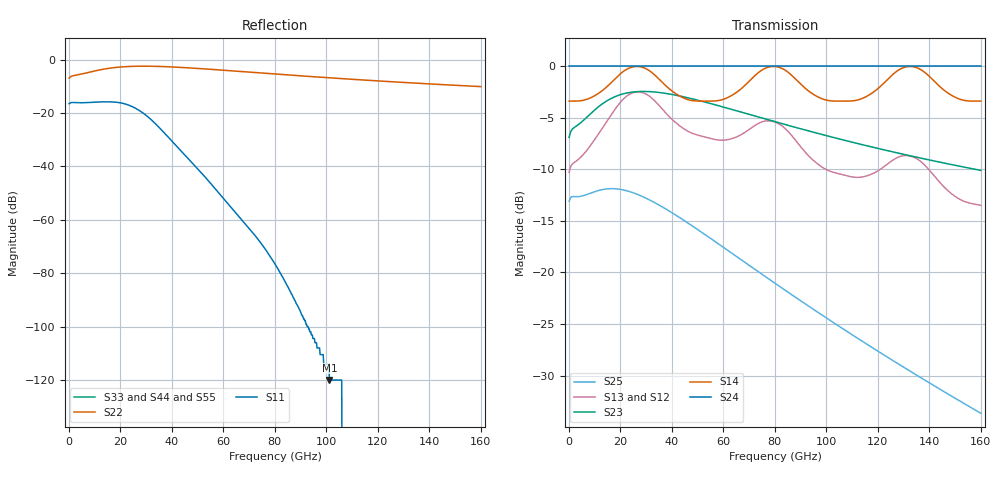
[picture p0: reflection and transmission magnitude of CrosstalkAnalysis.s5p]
! File created by SignalIntegrity v1.5.1: Signal and Power Integrity Tools
! https://github.com/Nubis-Communications/SignalIntegrity
# MHz S MA R 50.0
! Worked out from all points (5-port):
!   800 points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, 200 MHz to 160 GHz, reference 50 ohm
!   strongest paths, dB at 200 MHz, 40.2 GHz, 80.2 GHz, 120.2 GHz, 160 GHz:
!     S24: 0.0, 0.0, 0.0, 0.0, 0.0
!     S14: -3.4, -2.4, 0.0, -2.1, -3.4
!     S23: -6.9, -2.7, -5.4, -8.0, -10.1
!     S13: -10.3, -5.2, -5.4, -10.1, -13.5
!     S12: -10.3, -5.2, -5.4, -10.1, -13.5
!     S25: -13.1, -14.2, -21.1, -27.7, -33.7
!   lowest |S11| = -120.0 dB at 101.2 GHz (marker M1), VSWR 1.00, Z = 50 - j8.1e-05 ohm
!   |S11| at or under -10 dB: start of sweep to end of sweep
